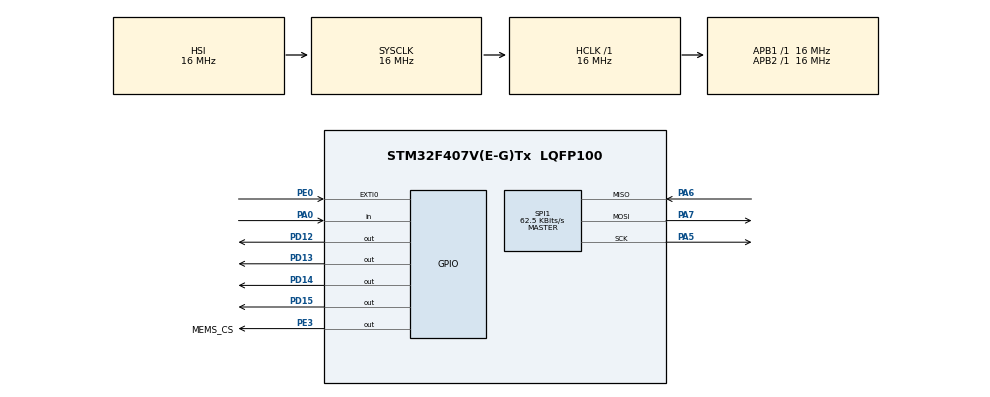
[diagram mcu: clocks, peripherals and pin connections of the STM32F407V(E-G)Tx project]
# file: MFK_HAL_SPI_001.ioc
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Mcu.Family=STM32F4
Mcu.Name=STM32F407V(E-G)Tx
Mcu.Package=LQFP100
NVIC.EXTI0_IRQn=true\:0\:0\:false\:false\:true\:true\:true\:true
NVIC.PriorityGroup=NVIC_PRIORITYGROUP_4
PA0-WKUP.Signal=GPIO_Input
PA13.Mode=Serial_Wire
PA13.Signal=SYS_JTMS-SWDIO
PA14.Mode=Serial_Wire
PA14.Signal=SYS_JTCK-SWCLK
PA5.Mode=Full_Duplex_Master
PA5.Signal=SPI1_SCK
PA6.Mode=Full_Duplex_Master
PA6.Signal=SPI1_MISO
PA7.Mode=Full_Duplex_Master
PA7.Signal=SPI1_MOSI
PD12.Signal=GPIO_Output
PD13.Signal=GPIO_Output
PD14.Signal=GPIO_Output
PD15.Signal=GPIO_Output
PE0.Signal=GPXTI0
PE3.GPIO_Label=MEMS_CS
PE3.Signal=GPIO_Output
ProjectManager.HeapSize=0x200
ProjectManager.StackSize=0x400
ProjectManager.TargetToolchain=STM32CubeIDE
RCC.AHBFreq_Value=16000000
RCC.APB1Freq_Value=16000000
RCC.APB2Freq_Value=16000000
RCC.CortexFreq_Value=16000000
RCC.HSE_VALUE=25000000
RCC.HSI_VALUE=16000000
RCC.LSE_VALUE=32768
RCC.SYSCLKFreq_VALUE=16000000
RCC.VCOOutputFreq_Value=192000000
SPI1.BaudRatePrescaler=SPI_BAUDRATEPRESCALER_256
SPI1.CLKPhase=SPI_PHASE_2EDGE
SPI1.CLKPolarity=SPI_POLARITY_HIGH
SPI1.CalculateBaudRate=62.5 KBits/s
SPI1.Direction=SPI_DIRECTION_2LINES
SPI1.Mode=SPI_MODE_MASTER
SPI1.VirtualType=VM_MASTER
board=custom

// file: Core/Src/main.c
/* USER CODE BEGIN Header */
/**
  ******************************************************************************
  * @file           : main.c
  * @brief          : Main program body
  ******************************************************************************
  * @attention
  *
  * Copyright (c) 2023 STMicroelectronics.
  * All rights reserved.
  *
  * This software is licensed under terms that can be found in the LICENSE file
  * in the root directory of this software component.
  * If no LICENSE file comes with this software, it is provided AS-IS.
  *
  ******************************************************************************
  */
/* USER CODE END Header */
#include "main.h"

/* USER CODE BEGIN Includes */

#define WHO_AM_I 0x0F
#define CTRL_REG4 0x20
#define CTRL_REG5 0x24
#define CTRL_REG3 0x23
#define CTRL_REG6 0x25
#define CTRL_REG1 0x21
#define CTRL_REG2 0x22
#define FIFO_CTRL 0x2E
#define OUT_X_H 0x29
#define OUT_X_L 0x28
#define OUT_Y_H 0x2B
#define OUT_Y_L 0x2A
#define OUT_Z_H 0x2D
#define OUT_Z_L 0x2C

int a = 0;

void SPI_LIS3DSH_Tx(uint8_t address1,uint8_t data1);
uint8_t SPI_LIS3DSH_Rx(uint8_t address2);
void LIS3DSH_Init(void);

/* USER CODE END Includes */

/* USER CODE BEGIN PTD */

uint8_t x ,y ,z;

/* USER CODE END PTD */

SPI_HandleTypeDef hspi1;

void SystemClock_Config(void);
static void MX_GPIO_Init(void);
static void MX_SPI1_Init(void);

/* USER CODE BEGIN 0 */

void LIS3DSH_Init()
{
	SPI_LIS3DSH_Tx(CTRL_REG6,0x80);
	SPI_LIS3DSH_Tx(CTRL_REG3,0x01);

	HAL_Delay(100);

	if(SPI_LIS3DSH_Rx(WHO_AM_I) == 0x3F)
	{
		a = 1;
		SPI_LIS3DSH_Tx(CTRL_REG3, 0x48);
		SPI_LIS3DSH_Tx(CTRL_REG4, 0x47);
		SPI_LIS3DSH_Tx(CTRL_REG6, 0x64);
		SPI_LIS3DSH_Tx(FIFO_CTRL, 0x41);
	}
}

void SPI_LIS3DSH_Tx(uint8_t address1,uint8_t data1)
{
	HAL_GPIO_WritePin(GPIOE,GPIO_PIN_3,0);

	HAL_SPI_Transmit(&hspi1, &address1,1, 100);
	HAL_SPI_Transmit(&hspi1,&data1,1,100);

	HAL_GPIO_WritePin(GPIOE,GPIO_PIN_3,1);
}

uint8_t SPI_LIS3DSH_Rx(uint8_t address2)
{
	uint8_t rx = 0;

	address2 = address2 | 0x80;

	HAL_GPIO_WritePin(GPIOE,GPIO_PIN_3,0);

	HAL_SPI_Transmit(&hspi1,&address2, 1, 100);

	HAL_SPI_Receive(&hspi1, &rx, 1, 100);

	HAL_GPIO_WritePin(GPIOE,GPIO_PIN_3,1);

	return rx;
}

void HAL_GPIO_EXTI_Callback(uint16_t GPIO_Pin)
{
	__HAL_GPIO_EXTI_CLEAR_IT(GPIO_PIN_0);

	x = SPI_LIS3DSH_Rx(OUT_X_H);
	y = SPI_LIS3DSH_Rx(OUT_Y_H);
	z = SPI_LIS3DSH_Rx(OUT_Z_H);

	if(x < 100)
	{
		HAL_GPIO_WritePin(GPIOD, GPIO_PIN_12, 1);
	}
	else
	{
		HAL_GPIO_WritePin(GPIOD, GPIO_PIN_12, 0);
	}
	if(x > 100)
	{
		HAL_GPIO_WritePin(GPIOD, GPIO_PIN_14, 1);
	}
	else
	{
		HAL_GPIO_WritePin(GPIOD, GPIO_PIN_14, 0);
	}

	if(y < 100)
	{
		HAL_GPIO_WritePin(GPIOD, GPIO_PIN_15, 1);
	}
	else
	{
		HAL_GPIO_WritePin(GPIOD, GPIO_PIN_15, 0);
	}
	if(y > 100)
	{
		HAL_GPIO_WritePin(GPIOD, GPIO_PIN_13, 1);
	}
	else
	{
		HAL_GPIO_WritePin(GPIOD, GPIO_PIN_13, 0);
	}

}

/* USER CODE END 0 */

int main(void)
{

  /* MCU Configuration--------------------------------------------------------*/

  /* Reset of all peripherals, Initializes the Flash interface and the Systick. */
  HAL_Init();

  /* Configure the system clock */
  SystemClock_Config();

  /* Initialize all configured peripherals */
  MX_GPIO_Init();
  MX_SPI1_Init();
  /* USER CODE BEGIN 2 */

  LIS3DSH_Init();

  /* USER CODE END 2 */

  /* Infinite loop */
  while (1)
  {

  }
}

void SystemClock_Config(void)
{
  RCC_OscInitTypeDef RCC_OscInitStruct = {0};
  RCC_ClkInitTypeDef RCC_ClkInitStruct = {0};

  /** Configure the main internal regulator output voltage
  */
  __HAL_RCC_PWR_CLK_ENABLE();
  __HAL_PWR_VOLTAGESCALING_CONFIG(PWR_REGULATOR_VOLTAGE_SCALE1);

  /** Initializes the RCC Oscillators according to the specified parameters
  * in the RCC_OscInitTypeDef structure.
  */
  RCC_OscInitStruct.OscillatorType = RCC_OSCILLATORTYPE_HSI;
  RCC_OscInitStruct.HSIState = RCC_HSI_ON;
  RCC_OscInitStruct.HSICalibrationValue = RCC_HSICALIBRATION_DEFAULT;
  RCC_OscInitStruct.PLL.PLLState = RCC_PLL_NONE;
  if (HAL_RCC_OscConfig(&RCC_OscInitStruct) != HAL_OK)
  {
    Error_Handler();
  }

  /** Initializes the CPU, AHB and APB buses clocks
  */
  RCC_ClkInitStruct.ClockType = RCC_CLOCKTYPE_HCLK|RCC_CLOCKTYPE_SYSCLK
                              |RCC_CLOCKTYPE_PCLK1|RCC_CLOCKTYPE_PCLK2;
  RCC_ClkInitStruct.SYSCLKSource = RCC_SYSCLKSOURCE_HSI;
  RCC_ClkInitStruct.AHBCLKDivider = RCC_SYSCLK_DIV1;
  RCC_ClkInitStruct.APB1CLKDivider = RCC_HCLK_DIV1;
  RCC_ClkInitStruct.APB2CLKDivider = RCC_HCLK_DIV1;

  if (HAL_RCC_ClockConfig(&RCC_ClkInitStruct, FLASH_LATENCY_0) != HAL_OK)
  {
    Error_Handler();
  }
}

static void MX_SPI1_Init(void)
{

  /* SPI1 parameter configuration*/
  hspi1.Instance = SPI1;
  hspi1.Init.Mode = SPI_MODE_MASTER;
  hspi1.Init.Direction = SPI_DIRECTION_2LINES;
  hspi1.Init.DataSize = SPI_DATASIZE_8BIT;
  hspi1.Init.CLKPolarity = SPI_POLARITY_HIGH;
  hspi1.Init.CLKPhase = SPI_PHASE_2EDGE;
  hspi1.Init.NSS = SPI_NSS_SOFT;
  hspi1.Init.BaudRatePrescaler = SPI_BAUDRATEPRESCALER_256;
  hspi1.Init.FirstBit = SPI_FIRSTBIT_MSB;
  hspi1.Init.TIMode = SPI_TIMODE_DISABLE;
  hspi1.Init.CRCCalculation = SPI_CRCCALCULATION_DISABLE;
  hspi1.Init.CRCPolynomial = 10;
  if (HAL_SPI_Init(&hspi1) != HAL_OK)
  {
    Error_Handler();
  }

}

static void MX_GPIO_Init(void)
{
  GPIO_InitTypeDef GPIO_InitStruct = {0};

  /* GPIO Ports Clock Enable */
  __HAL_RCC_GPIOE_CLK_ENABLE();
  __HAL_RCC_GPIOA_CLK_ENABLE();
  __HAL_RCC_GPIOD_CLK_ENABLE();

  /*Configure GPIO pin Output Level */
  HAL_GPIO_WritePin(MEMS_CS_GPIO_Port, MEMS_CS_Pin, GPIO_PIN_RESET);

  /*Configure GPIO pin Output Level */
  HAL_GPIO_WritePin(GPIOD, GPIO_PIN_12|GPIO_PIN_13|GPIO_PIN_14|GPIO_PIN_15, GPIO_PIN_RESET);

  /*Configure GPIO pin : MEMS_CS_Pin */
  GPIO_InitStruct.Pin = MEMS_CS_Pin;
  GPIO_InitStruct.Mode = GPIO_MODE_OUTPUT_PP;
  GPIO_InitStruct.Pull = GPIO_NOPULL;
  GPIO_InitStruct.Speed = GPIO_SPEED_FREQ_LOW;
  HAL_GPIO_Init(MEMS_CS_GPIO_Port, &GPIO_InitStruct);

  /*Configure GPIO pin : PA0 */
  GPIO_InitStruct.Pin = GPIO_PIN_0;
  GPIO_InitStruct.Mode = GPIO_MODE_INPUT;
  GPIO_InitStruct.Pull = GPIO_NOPULL;
  HAL_GPIO_Init(GPIOA, &GPIO_InitStruct);

  /*Configure GPIO pins : PD12 PD13 PD14 PD15 */
  GPIO_InitStruct.Pin = GPIO_PIN_12|GPIO_PIN_13|GPIO_PIN_14|GPIO_PIN_15;
  GPIO_InitStruct.Mode = GPIO_MODE_OUTPUT_PP;
  GPIO_InitStruct.Pull = GPIO_NOPULL;
  GPIO_InitStruct.Speed = GPIO_SPEED_FREQ_LOW;
  HAL_GPIO_Init(GPIOD, &GPIO_InitStruct);

  /*Configure GPIO pin : PE0 */
  GPIO_InitStruct.Pin = GPIO_PIN_0;
  GPIO_InitStruct.Mode = GPIO_MODE_IT_RISING;
  GPIO_InitStruct.Pull = GPIO_NOPULL;
  HAL_GPIO_Init(GPIOE, &GPIO_InitStruct);

  /* EXTI interrupt init*/
  HAL_NVIC_SetPriority(EXTI0_IRQn, 0, 0);
  HAL_NVIC_EnableIRQ(EXTI0_IRQn);

}

void Error_Handler(void)
{
  __disable_irq();
  while (1)
  {
  }
}
